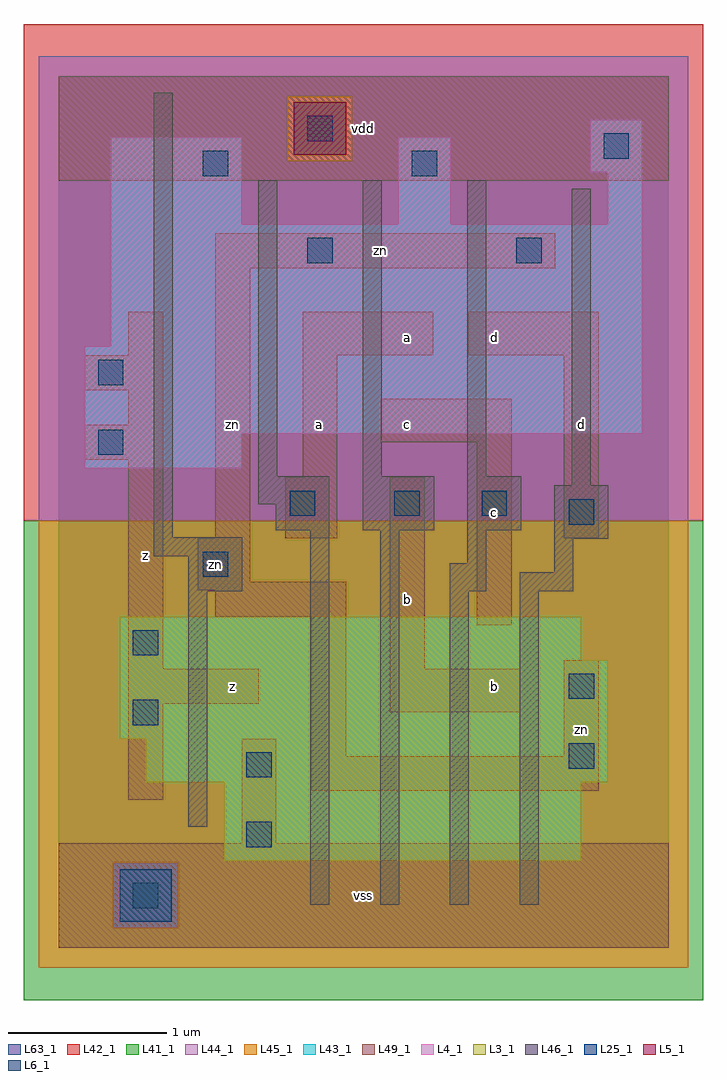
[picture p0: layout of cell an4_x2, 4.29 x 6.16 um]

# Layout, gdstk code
import gdstk
lib = gdstk.Library(unit=1e-6, precision=1e-09)
def R(c, l, rs):  # rectangles x0, y0, x1, y1
    for r in rs: c.add(gdstk.rectangle(r[:2], r[2:], *l))
def A(c, l, x, y, w, h, nx, ny, dx, dy):  # array of equal rectangles
    R(c, l, [(x+i*dx, y+j*dy, x+i*dx+w, y+j*dy+h) for i in range(nx) for j in range(ny)])
L3_1 = (3, 1)
L4_1 = (4, 1)
L5_1 = (5, 1)
L6_1 = (6, 1)
L25_1 = (25, 1)
L41_1 = (41, 1)
L42_1 = (42, 1)
L43_1 = (43, 1)
L44_1 = (44, 1)
L45_1 = (45, 1)
L46_1 = (46, 1)
L49_1 = (49, 1)
L63_1 = (63, 1)

an4_x2 = lib.new_cell('an4_x2')
R(an4_x2, L3_1, [(1.045,0.55,3.3,1.045), (0.55,1.045,3.465,1.32), (0.385,1.32,3.465,1.815), (0.385,1.815,3.3,2.09)])
R(an4_x2, L4_1, [(0.165,3.025,1.155,3.245), (0.165,3.245,3.685,3.795), (0.33,3.795,3.685,4.565), (0.33,4.565,1.155,5.115), (2.145,4.565,2.475,5.115), (3.465,4.565,3.685,4.895), (3.355,4.895,3.685,5.225)])
R(an4_x2, L5_1, [(1.485,5.005,1.815,5.335)])
R(an4_x2, L6_1, [(0.385,0.165,0.715,0.495)])
R(an4_x2, L25_1, [(0.47,0.25,0.63,0.41), (1.185,0.635,1.345,0.795), (1.185,1.075,1.345,1.235), (3.22,1.13,3.38,1.29), (0.47,1.405,0.63,1.565), (3.22,1.57,3.38,1.73), (0.47,1.845,0.63,2.005), (0.91,2.34,1.07,2.5), (3.22,2.67,3.38,2.83), (1.46,2.725,1.62,2.885), (2.12,2.725,2.28,2.885), (2.67,2.725,2.83,2.885), (0.25,3.11,0.41,3.27), (0.25,3.55,0.41,3.71), (1.57,4.32,1.73,4.48), (2.89,4.32,3.05,4.48), (0.91,4.87,1.07,5.03), (2.23,4.87,2.39,5.03), (3.44,4.98,3.6,5.14), (1.57,5.09,1.73,5.25)])
R(an4_x2, L41_1, [(-0.22,-0.33,4.07,2.695)])
R(an4_x2, L42_1, [(-0.22,2.695,4.07,5.83)])
R(an4_x2, L43_1, [(0.385,0.165,0.715,0.495), (1.045,0.55,3.3,1.045), (0.55,1.045,3.465,1.32), (0.385,1.32,3.465,1.815), (0.385,1.815,3.3,2.09), (0.165,3.025,1.155,3.245), (0.165,3.245,3.685,3.795), (0.33,3.795,3.685,4.565), (0.33,4.565,1.155,5.115), (2.145,4.565,2.475,5.115), (3.465,4.565,3.685,4.895), (3.355,4.895,3.685,5.225), (1.485,5.005,1.815,5.335)])
R(an4_x2, L44_1, [(0.345,0.125,0.755,0.535), (-0.125,2.695,3.975,4.965), (-0.125,4.965,1.445,5.375), (1.855,4.965,3.975,5.375), (-0.125,5.375,3.975,5.625)])
R(an4_x2, L45_1, [(-0.125,-0.125,3.975,0.125), (-0.125,0.125,0.345,0.535), (0.755,0.125,3.975,0.535), (-0.125,0.535,3.975,2.695), (1.445,4.965,1.855,5.375)])
A(an4_x2, L46_1, 1.26, 2.975, 0.12, 1.87, 3, 1, 0.66, 0)
R(an4_x2, L46_1, [(1.59,0.27,1.71,2.635), (2.03,0.27,2.15,2.635), (2.47,0.27,2.59,2.25), (2.91,0.27,3.03,2.25), (0.82,0.765,0.94,2.25), (0.82,2.25,1.16,2.47), (2.47,2.25,2.7,2.425), (2.91,2.25,3.25,2.37), (3.13,2.37,3.25,2.58), (2.58,2.425,2.7,2.635), (0.6,2.47,1.16,2.59), (3.13,2.58,3.47,2.92), (0.6,2.59,0.72,5.395), (1.37,2.635,1.71,2.8), (1.92,2.635,2.37,2.975), (2.58,2.635,2.92,2.975), (1.26,2.8,1.71,2.975), (3.24,2.92,3.36,4.79)])
R(an4_x2, L49_1, [(0,0,3.85,0.66), (1.155,0.66,1.375,1.32), (0.44,0.935,0.66,1.54), (1.595,0.99,3.41,1.21), (1.595,1.21,1.815,2.09), (3.19,1.21,3.41,1.815), (2.09,1.485,2.915,1.76), (0.44,1.54,1.265,1.76), (0.44,1.76,0.66,3.08), (2.09,1.76,2.31,2.97), (2.64,2.035,2.86,3.19), (0.99,2.09,1.815,2.255), (0.88,2.255,1.815,2.31), (0.88,2.31,1.21,2.585), (0.99,2.585,1.21,4.29), (1.43,2.585,1.76,2.97), (3.19,2.585,3.41,3.74), (1.54,2.97,1.76,3.74), (0.165,3.08,0.66,3.3), (2.035,3.19,2.86,3.465), (0.44,3.3,0.66,3.52), (0.165,3.52,0.66,3.74), (0.44,3.74,0.66,4.015), (1.54,3.74,2.365,4.015), (2.585,3.74,3.41,4.015), (0.99,4.29,3.135,4.51), (0,4.84,3.85,5.5)])
R(an4_x2, L63_1, [(0,0,3.85,5.5)])
an4_x2.add(gdstk.Label('zn', (0.99,2.42), layer=49, texttype=1))
an4_x2.add(gdstk.Label('z', (1.1,1.65), layer=49, texttype=1))
an4_x2.add(gdstk.Label('z', (1.1,1.65), layer=49, texttype=1))
an4_x2.add(gdstk.Label('z', (0.55,2.475), layer=49, texttype=1))
an4_x2.add(gdstk.Label('z', (0.55,2.475), layer=49, texttype=1))
an4_x2.add(gdstk.Label('zn', (1.1,3.3), layer=49, texttype=1))
an4_x2.add(gdstk.Label('vss', (1.925,0.33), layer=49, texttype=1))
an4_x2.add(gdstk.Label('vss', (1.925,0.33), layer=49, texttype=1))
an4_x2.add(gdstk.Label('a', (1.65,3.3), layer=49, texttype=1))
an4_x2.add(gdstk.Label('a', (1.65,3.3), layer=49, texttype=1))
an4_x2.add(gdstk.Label('vdd', (1.925,5.17), layer=49, texttype=1))
an4_x2.add(gdstk.Label('vdd', (1.925,5.17), layer=49, texttype=1))
an4_x2.add(gdstk.Label('b', (2.75,1.65), layer=49, texttype=1))
an4_x2.add(gdstk.Label('b', (2.75,1.65), layer=49, texttype=1))
an4_x2.add(gdstk.Label('b', (2.2,2.2), layer=49, texttype=1))
an4_x2.add(gdstk.Label('b', (2.2,2.2), layer=49, texttype=1))
an4_x2.add(gdstk.Label('c', (2.75,2.75), layer=49, texttype=1))
an4_x2.add(gdstk.Label('c', (2.75,2.75), layer=49, texttype=1))
an4_x2.add(gdstk.Label('c', (2.2,3.3), layer=49, texttype=1))
an4_x2.add(gdstk.Label('c', (2.2,3.3), layer=49, texttype=1))
an4_x2.add(gdstk.Label('a', (2.2,3.85), layer=49, texttype=1))
an4_x2.add(gdstk.Label('a', (2.2,3.85), layer=49, texttype=1))
an4_x2.add(gdstk.Label('d', (2.75,3.85), layer=49, texttype=1))
an4_x2.add(gdstk.Label('d', (2.75,3.85), layer=49, texttype=1))
an4_x2.add(gdstk.Label('zn', (3.3,1.375), layer=49, texttype=1))
an4_x2.add(gdstk.Label('d', (3.3,3.3), layer=49, texttype=1))
an4_x2.add(gdstk.Label('d', (3.3,3.3), layer=49, texttype=1))
an4_x2.add(gdstk.Label('zn', (2.035,4.4), layer=49, texttype=1))

lib.write_gds('an4_x2.gds')
